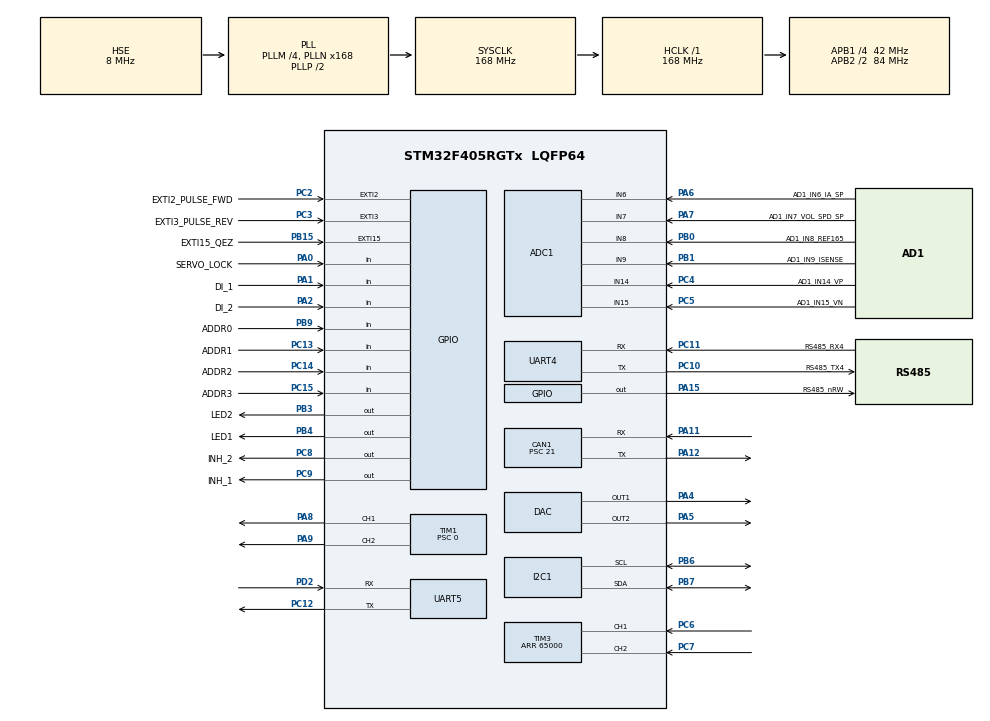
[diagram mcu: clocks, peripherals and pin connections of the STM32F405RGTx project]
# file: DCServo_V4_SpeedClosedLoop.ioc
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ADC1.Channel-2\#ChannelRegularConversion=ADC_CHANNEL_6
ADC1.Channel-3\#ChannelRegularConversion=ADC_CHANNEL_7
ADC1.Channel-4\#ChannelRegularConversion=ADC_CHANNEL_8
ADC1.Channel-5\#ChannelRegularConversion=ADC_CHANNEL_9
ADC1.Channel-6\#ChannelRegularConversion=ADC_CHANNEL_14
ADC1.Channel-7\#ChannelRegularConversion=ADC_CHANNEL_15
ADC1.DMAContinuousRequests=DISABLE
ADC1.EOCSelection=ADC_EOC_SEQ_CONV
ADC1.NbrOfConversion=6
ADC1.NbrOfConversionFlag=1
ADC1.Rank-2\#ChannelRegularConversion=1
ADC1.Rank-3\#ChannelRegularConversion=2
ADC1.Rank-4\#ChannelRegularConversion=3
ADC1.Rank-5\#ChannelRegularConversion=4
ADC1.Rank-6\#ChannelRegularConversion=5
ADC1.Rank-7\#ChannelRegularConversion=6
ADC1.SamplingTime-2\#ChannelRegularConversion=ADC_SAMPLETIME_144CYCLES
ADC1.SamplingTime-3\#ChannelRegularConversion=ADC_SAMPLETIME_144CYCLES
ADC1.SamplingTime-4\#ChannelRegularConversion=ADC_SAMPLETIME_144CYCLES
ADC1.SamplingTime-5\#ChannelRegularConversion=ADC_SAMPLETIME_144CYCLES
ADC1.SamplingTime-6\#ChannelRegularConversion=ADC_SAMPLETIME_144CYCLES
ADC1.SamplingTime-7\#ChannelRegularConversion=ADC_SAMPLETIME_144CYCLES
ADC1.ScanConvMode=ENABLE
ADC1.master=1
CAN1.BS1=CAN_BS1_2TQ
CAN1.BS2=CAN_BS2_1TQ
CAN1.CalculateBaudRate=500000
CAN1.CalculateTimeBit=2000
CAN1.CalculateTimeQuantum=500.0
CAN1.Prescaler=21
CAN1.TXFP=DISABLE
DAC.DAC_Trigger=DAC_TRIGGER_SOFTWARE
DAC.DAC_Trigger2=DAC_TRIGGER_SOFTWARE
Dma.ADC1.0.Direction=DMA_PERIPH_TO_MEMORY
Dma.ADC1.0.FIFOMode=DMA_FIFOMODE_DISABLE
Dma.ADC1.0.Instance=DMA2_Stream0
Dma.ADC1.0.MemDataAlignment=DMA_MDATAALIGN_HALFWORD
Dma.ADC1.0.MemInc=DMA_MINC_ENABLE
Dma.ADC1.0.Mode=DMA_NORMAL
Dma.ADC1.0.PeriphDataAlignment=DMA_PDATAALIGN_HALFWORD
Dma.ADC1.0.PeriphInc=DMA_PINC_DISABLE
Dma.ADC1.0.Priority=DMA_PRIORITY_VERY_HIGH
Dma.Request0=ADC1
Dma.Request1=UART4_RX
Dma.UART4_RX.1.Direction=DMA_PERIPH_TO_MEMORY
Dma.UART4_RX.1.FIFOMode=DMA_FIFOMODE_DISABLE
Dma.UART4_RX.1.Instance=DMA1_Stream2
Dma.UART4_RX.1.MemDataAlignment=DMA_MDATAALIGN_BYTE
Dma.UART4_RX.1.MemInc=DMA_MINC_ENABLE
Dma.UART4_RX.1.Mode=DMA_NORMAL
Dma.UART4_RX.1.PeriphDataAlignment=DMA_PDATAALIGN_BYTE
Dma.UART4_RX.1.PeriphInc=DMA_PINC_DISABLE
Dma.UART4_RX.1.Priority=DMA_PRIORITY_LOW
I2C1.I2C_Mode=I2C_Standard
Mcu.Family=STM32F4
Mcu.Name=STM32F405RGTx
Mcu.Package=LQFP64
NVIC.ADC_IRQn=true\:0\:0\:false\:false\:true\:true\:true\:true
NVIC.CAN1_RX0_IRQn=true\:0\:0\:false\:false\:true\:true\:true\:true
NVIC.CAN1_SCE_IRQn=true\:0\:0\:false\:false\:true\:true\:true\:true
NVIC.CAN1_TX_IRQn=true\:0\:0\:false\:false\:true\:true\:true\:true
NVIC.DMA1_Stream2_IRQn=true\:0\:0\:true\:false\:true\:false\:true\:true
NVIC.DMA2_Stream0_IRQn=true\:0\:0\:true\:false\:true\:false\:true\:true
NVIC.EXTI15_10_IRQn=true\:0\:0\:false\:false\:true\:true\:true\:true
NVIC.EXTI2_IRQn=true\:0\:0\:false\:false\:true\:true\:true\:true
NVIC.EXTI3_IRQn=true\:0\:0\:false\:false\:true\:true\:true\:true
NVIC.FPU_IRQn=true\:0\:0\:false\:false\:true\:true\:false\:true
NVIC.PriorityGroup=NVIC_PRIORITYGROUP_4
NVIC.TIM1_UP_TIM10_IRQn=true\:0\:0\:true\:false\:true\:true\:true\:true
NVIC.TIM2_IRQn=true\:0\:0\:true\:false\:true\:true\:true\:true
NVIC.TIM3_IRQn=true\:0\:0\:false\:false\:true\:true\:true\:true
NVIC.UART4_IRQn=true\:0\:0\:true\:false\:true\:true\:true\:true
PA0-WKUP.GPIO_Label=SERVO_LOCK
PA0-WKUP.GPIO_PuPd=GPIO_PULLUP
PA0-WKUP.Signal=GPIO_Input
PA1.GPIO_Label=DI_1
PA1.GPIO_PuPd=GPIO_PULLUP
PA1.Signal=GPIO_Input
PA11.Mode=CAN_Activate
PA11.Signal=CAN1_RX
PA12.Mode=CAN_Activate
PA12.Signal=CAN1_TX
PA13.Mode=Serial_Wire
PA13.Signal=SYS_JTMS-SWDIO
PA14.Mode=Serial_Wire
PA14.Signal=SYS_JTCK-SWCLK
PA15.GPIO_Label=RS485_nRW
PA15.Signal=GPIO_Output
PA2.GPIO_Label=DI_2
PA2.GPIO_PuPd=GPIO_PULLUP
PA2.Signal=GPIO_Input
PA4.Signal=COMP_DAC1_group
PA5.Signal=COMP_DAC2_group
PA6.GPIO_Label=AD1_IN6_IA_SP
PA6.Signal=ADCx_IN6
PA7.GPIO_Label=AD1_IN7_VOL_SPD_SP
PA7.Signal=ADCx_IN7
PA8.Signal=S_TIM1_CH1
PA9.Signal=S_TIM1_CH2
PB0.GPIO_Label=AD1_IN8_REF165
PB0.Signal=ADCx_IN8
PB1.GPIO_Label=AD1_IN9_ISENSE
PB1.Signal=ADCx_IN9
PB15.GPIO_Label=EXTI15_QEZ
PB15.GPIO_PuPd=GPIO_PULLUP
PB15.Signal=GPXTI15
PB3.GPIO_Label=LED2
PB3.Signal=GPIO_Output
PB4.GPIO_Label=LED1
PB4.Signal=GPIO_Output
PB6.GPIO_Pu=GPIO_PULLUP
PB6.Mode=I2C
PB6.Signal=I2C1_SCL
PB7.GPIO_Pu=GPIO_PULLUP
PB7.Mode=I2C
PB7.Signal=I2C1_SDA
PB9.GPIO_Label=ADDR0
PB9.GPIO_PuPd=GPIO_PULLUP
PB9.Signal=GPIO_Input
PC10.GPIO_Label=RS485_TX4
PC10.Mode=Asynchronous
PC10.Signal=UART4_TX
PC11.GPIO_Label=RS485_RX4
PC11.Mode=Asynchronous
PC11.Signal=UART4_RX
PC12.Mode=Multiprocessor_communication
PC12.Signal=UART5_TX
PC13-ANTI_TAMP.GPIO_Label=ADDR1
PC13-ANTI_TAMP.GPIO_PuPd=GPIO_PULLUP
PC13-ANTI_TAMP.Signal=GPIO_Input
PC14-OSC32_IN.GPIO_Label=ADDR2
PC14-OSC32_IN.GPIO_PuPd=GPIO_PULLUP
PC14-OSC32_IN.Signal=GPIO_Input
PC15-OSC32_OUT.GPIO_Label=ADDR3
PC15-OSC32_OUT.Signal=GPIO_Input
PC2.GPIO_Label=EXTI2_PULSE_FWD
PC2.GPIO_PuPd=GPIO_PULLUP
PC2.Signal=GPXTI2
PC3.GPIO_Label=EXTI3_PULSE_REV
PC3.GPIO_PuPd=GPIO_PULLUP
PC3.Signal=GPXTI3
PC4.GPIO_Label=AD1_IN14_VP
PC4.Signal=ADCx_IN14
PC5.GPIO_Label=AD1_IN15_VN
PC5.Signal=ADCx_IN15
PC6.GPIO_PuPd=GPIO_PULLUP
PC6.Signal=S_TIM3_CH1
PC7.GPIO_PuPd=GPIO_PULLUP
PC7.Signal=S_TIM3_CH2
PC8.GPIO_Label=INH_2
PC8.Signal=GPIO_Output
PC9.GPIO_Label=INH_1
PC9.Signal=GPIO_Output
PD2.Mode=Multiprocessor_communication
PD2.Signal=UART5_RX
PH0-OSC_IN.Mode=HSE-External-Oscillator
PH0-OSC_IN.Signal=RCC_OSC_IN
PH1-OSC_OUT.Mode=HSE-External-Oscillator
PH1-OSC_OUT.Signal=RCC_OSC_OUT
ProjectManager.HeapSize=0x200
ProjectManager.StackSize=0x400
ProjectManager.TargetToolchain=MDK-ARM V5.32
RCC.48MHZClocksFreq_Value=84000000
RCC.AHBFreq_Value=168000000
RCC.APB1CLKDivider=RCC_HCLK_DIV4
RCC.APB1Freq_Value=42000000
RCC.APB1TimFreq_Value=84000000
RCC.APB2CLKDivider=RCC_HCLK_DIV2
RCC.APB2Freq_Value=84000000
RCC.APB2TimFreq_Value=168000000
RCC.CortexFreq_Value=168000000
RCC.HCLKFreq_Value=168000000
RCC.HSE_VALUE=8000000
RCC.HSI_VALUE=16000000
RCC.LSE_VALUE=32768
RCC.PLLM=4
RCC.PLLN=168
RCC.PLLSourceVirtual=RCC_PLLSOURCE_HSE
RCC.SYSCLKFreq_VALUE=168000000
RCC.SYSCLKSource=RCC_SYSCLKSOURCE_PLLCLK
RCC.VCOOutputFreq_Value=336000000
SH.ADCx_IN14.0=ADC1_IN14,IN14
SH.ADCx_IN15.0=ADC1_IN15,IN15
SH.ADCx_IN6.0=ADC1_IN6,IN6
SH.ADCx_IN7.0=ADC1_IN7,IN7
SH.ADCx_IN8.0=ADC1_IN8,IN8
SH.ADCx_IN9.0=ADC1_IN9,IN9
SH.COMP_DAC1_group.0=DAC_OUT1,DAC_OUT1
SH.COMP_DAC2_group.0=DAC_OUT2,DAC_OUT2
SH.S_TIM1_CH1.0=TIM1_CH1,PWM Generation1 CH1
SH.S_TIM1_CH2.0=TIM1_CH2,PWM Generation2 CH2
SH.S_TIM3_CH1.0=TIM3_CH1,Encoder_Interface
SH.S_TIM3_CH2.0=TIM3_CH2,Encoder_Interface
TIM1.AutoReloadPreload=TIM_AUTORELOAD_PRELOAD_ENABLE
TIM1.Channel-PWM\ Generation1\ CH1=TIM_CHANNEL_1
TIM1.Channel-PWM\ Generation2\ CH2=TIM_CHANNEL_2
TIM1.CounterMode=TIM_COUNTERMODE_CENTERALIGNED1
TIM1.Period=8399
TIM1.Prescaler=0
TIM2.Period=335999
TIM3.AutoReloadPreload=TIM_AUTORELOAD_PRELOAD_ENABLE
TIM3.CounterMode=TIM_COUNTERMODE_UP
TIM3.EncoderMode=TIM_ENCODERMODE_TI12
TIM3.Period=65000
UART4.VirtualMode=Asynchronous
UART5.VirtualMode=Asynchronous
VP_TIM1_VS_ClockSourceINT.Mode=Internal
VP_TIM2_VS_ClockSourceINT.Mode=Internal
board=custom

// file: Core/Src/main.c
/* USER CODE BEGIN Header */
/**
  ******************************************************************************
  * @file           : main.c
  * @brief          : Main program body
  ******************************************************************************
  * @attention
  *
  * Copyright (c) 2024 STMicroelectronics.
  * All rights reserved.
  *
  * This software is licensed under terms that can be found in the LICENSE file
  * in the root directory of this software component.
  * If no LICENSE file comes with this software, it is provided AS-IS.
  *
  ******************************************************************************
  */
/* USER CODE END Header */
#include "main.h"

/* USER CODE BEGIN Includes */
#include "stdlib.h"
#include "stdio.h"
#include <string.h>
/* USER CODE END Includes */

/* USER CODE BEGIN PM */
CAN_RxHeaderTypeDef RxHeader;
CAN_TxHeaderTypeDef TxHeader;
/* USER CODE END PM */

ADC_HandleTypeDef hadc1;
DMA_HandleTypeDef hdma_adc1;

CAN_HandleTypeDef hcan1;

DAC_HandleTypeDef hdac;

I2C_HandleTypeDef hi2c1;

TIM_HandleTypeDef htim1;
TIM_HandleTypeDef htim2;
TIM_HandleTypeDef htim3;

UART_HandleTypeDef huart4;
UART_HandleTypeDef huart5;
DMA_HandleTypeDef hdma_uart4_rx;

/* USER CODE BEGIN PV */
const float f_base_Ts = 0.00005f;	//PWM isr frequency - 20kHz
const float f_Ia_Ts = 0.0001f;		//Sampling frequency of the current control loop - 10kHz
const float f_Spd_Ts = 0.05f;			//Sampling frequency of the "gear shaft speed" control loop - 20Hz
const float f_Gear_Ratio = 19.2; //19.2f;	//Gear box reduced speed ratio of motor
const float f_Vbus_Nom = 24.0f;		//Norminal dc bus voltage - V
float f_Ti_Spd = 0.2;//0.2 						//second
float f_Ti_Ia = 0.08;//0.01							//second
//const uint8_t ui8_Converter_Type = MOTOR; //Firmware for Motor side - Open loop voltage control
const uint8_t ui8_Converter_Type = LOAD;//Firmware for Load side - Closed loop current control
//const uint8_t ui8_FirmwareLevel = TEST_MODE;
const uint8_t ui8_FirmwareLevel = RUN_MODE;
/*uart data*/
usartData usart4_Tx, usart4_Rx; 		//RS485
usartData usart5_Tx, usart5_Rx; 		//NEXTION
/*Timer variable*/
timer_Objt Tim_10ms[MaxTIMER];			//10ms software timer
uint16_t tim10msTick;
/*PWM variable*/
PWM PWM_Var;
/*GPIO Variable*/
gpio_Objt DI_Objt[NumOfDI];
/*ADC data*/
adc_Objt adc_Objt_var;
volatile uint16_t ADC_CH1[NumOfADC_Channel];
/*DAC data*/
DAC_OUT stDAC_Var;
/*2nd Order Unity-Gain LPF*/
LPF st_LPF_dotIa;
LPF st_LPF_EsSpd;
LPF st_LPF_IaSP;
LPF st_LPF_SpdSP;
LPF st_LPF_Ia;
LPF st_LPF_dotIa;
LPF st_LPF_Vbus;
LPF st_LPF_Vref_165;
LPF st_LPF_AD_Ia_Offset;
/*PI controller*/
cPI stPI_Speed, stPI_Ia;
//State machine
machine_Control stMControl_Var;
machine_Parameter stMachine_Var;
/*Setpoint variable*/
setpoint SP_Var;
//RAMP Generator (Ampere with Ia, and rpm with Speed)
RAMP stRamp_IaSP, stRamp_SpdSP, stRamp_VaSP;
//Quadrature Encoder
QEI stQEI_Var;
uint8_t First_Cycle_Flag = 0;
//NEXTION HMI
NEXTION NEXVar;
// CAN
uint8_t ID_CAN= 0x11; // 0x12||0x11
uint32_t TxMailbox;
double N_Round=0.000f;
// system
mode CONTROL;
/* USER CODE END PV */

void SystemClock_Config(void);
static void MX_GPIO_Init(void);
static void MX_DMA_Init(void);
static void MX_ADC1_Init(void);
static void MX_CAN1_Init(void);
static void MX_I2C1_Init(void);
static void MX_TIM1_Init(void);
static void MX_DAC_Init(void);
static void MX_TIM3_Init(void);
static void MX_UART4_Init(void);
static void MX_UART5_Init(void);
static void MX_TIM2_Init(void);

/* USER CODE BEGIN 0 */
extern void Transmit_RS485();
// GET data CAN bus

/* USER CODE END 0 */

int main(void)
{

  /* MCU Configuration--------------------------------------------------------*/

  /* Reset of all peripherals, Initializes the Flash interface and the Systick. */
  HAL_Init();

  /* Configure the system clock */
  SystemClock_Config();

  /* Initialize all configured peripherals */
  MX_GPIO_Init();
  MX_DMA_Init();
  MX_ADC1_Init();
  MX_CAN1_Init();
  MX_I2C1_Init();
  MX_TIM1_Init();
  MX_DAC_Init();
  MX_TIM3_Init();
  MX_UART4_Init();
  MX_UART5_Init();
  MX_TIM2_Init();
  /* USER CODE BEGIN 2 */
	HAL_Delay(1000);					//ATTENTION: Do Not Delete This Command - High Risk of Malt Function
	//Watchdog
	//IWDG1->KR = 0xAAAA; // Writing 0xAAAA in the Key register prevents watchdog reset
	//IWDG1->KR = 0xCCCC; // Start the independent watchdog timer

	//Initialize DC motor parameters
	vMachineParameterConfig(&stMachine_Var);
	//State machine Initialize
	vStateMachineConfig(&stMControl_Var, &stMachine_Var);
	//Initialize adc data
	vAdc_DataInit(&adc_Objt_var, &stMachine_Var);
	//Initialize DAC data
	vDAC_Init(&stDAC_Var);
	//Start DAC
	HAL_DAC_Start(&hdac, DAC_CHANNEL_1);
	HAL_DAC_Start(&hdac, DAC_CHANNEL_2);
	//DAC TEST
	vDAC_CH1_IaWrite(&stDAC_Var, 1, 0.0f);
	vDAC_CH1_IaWrite(&stDAC_Var, 2, 0.0f);
	//Timers initialize
	vTim_Start(&Tim_10ms[0],25);									//Create 0.25s event
	tim10msTick = 0;
	/*Low pass filter initialize*/
	//50ms group
	vLPF_Init(&st_LPF_EsSpd, 20, f_Spd_Ts);							//For EsSpeed filter
	//0.05ms group
	vLPF_Init(&st_LPF_Vbus, 20, f_base_Ts);							//For Vbus filter
	vLPF_Init(&st_LPF_SpdSP, 20, f_base_Ts);						//For SpeedSP filter
	vLPF_Init(&st_LPF_dotIa, 100, f_base_Ts);						//For dia/dt filter
	vLPF_Init(&st_LPF_IaSP, 50, f_base_Ts);							//For Analog IaSP filter
	vLPF_Init(&st_LPF_Ia, 100, f_base_Ts);							//For Ia filter
	vLPF_Init(&st_LPF_AD_Ia_Offset, 30, f_base_Ts);			//For Hall current sensor Offset filter
	//GPIO Initialize
	vDIO_Init();
	vDI_Scan();
//	HAL_GPIO_WritePin(LED2_GPIO_Port, LED2_Pin, GPIO_PIN_SET);		//Turn Off Led 2
	HAL_GPIO_WritePin(RS485_nRW_GPIO_Port, RS485_nRW_Pin, GPIO_PIN_RESET);//RS485 In Receive mode
	HAL_UART_Receive_IT(&huart4, &usart4_Rx.rxByte,1);										//Init usart4 interrupt
	HAL_UART_Receive_IT(&huart5, &usart5_Rx.rxByte,1);										//Init usart5 interrupt
	//Serial ports initialize
	vUsart_DataInit(&usart4_Rx);
	vUsart_DataInit(&usart5_Rx);
	//Config PI Speed Controller 20ms sampling time (50Hz)
	vPI_Init(&stPI_Speed, f_Ti_Spd, 0.3f, f_Spd_Ts, stMachine_Var.f_GearShaft_Spd_rated, stMachine_Var.f_Ia_max);
	//Config PI amature current controller with 0.5ms sampling time (2kHz)
	vPI_Init(&stPI_Ia, f_Ti_Ia, 0.6f, f_Ia_Ts, stMachine_Var.f_Ia_max, stMachine_Var.f_Va_rated);
	//Config Quadrature Encoder
	vQEI_Config(&stQEI_Var,500, 4, f_Gear_Ratio, f_Spd_Ts);
	//Config Ramp function generator
	vRamp_Config(&stRamp_SpdSP, 1, 1, 0, stMachine_Var.f_GearShaft_Spd_rated, f_Spd_Ts);
	vRamp_Config(&stRamp_VaSP, 5, 5, 0, stMachine_Var.f_Va_rated, f_Spd_Ts);
	vRamp_Config(&stRamp_IaSP, 1, 1, 0, stMachine_Var.f_Ia_rated, f_Ia_Ts);
	//Config Nextion HMI
	vNEXTION_Init(&NEXVar);
	//Enable Timer 3 interrupts - Incremental Encoder Overflow
	HAL_TIM_Base_Start_IT(&htim3);
	//Enable Timer 1 interrupts - TIM1 Update Interrupt
	HAL_TIM_Base_Start_IT(&htim1);
	//Start PWM
	HAL_TIM_PWM_Start(&htim1, TIM_CHANNEL_1);
	HAL_TIM_PWM_Start(&htim1, TIM_CHANNEL_2);
	//PWM initialize
	user_pwm_init(&PWM_Var, htim1.Init.Period);
	//Enable the PWM module
	user_pwm_Enable(&PWM_Var);
	user_pwm_setvalue(&PWM_Var, 0.0f,f_Vbus_Nom, Unipolar);
	// CAN setup
	HAL_CAN_Start(&hcan1);
	HAL_CAN_GetError(&hcan1);
	HAL_CAN_ActivateNotification(&hcan1, CAN_IT_RX_FIFO0_MSG_PENDING);
  // RS485
	RS485_Init();
  /* USER CODE END 2 */

  /* Infinite loop */
  /* USER CODE BEGIN WHILE */
  while (1)
  {

		HAL_UARTEx_ReceiveToIdle_DMA(&huart4,usart4_Rx.rxBuff, 100);
//		HAL_GPIO_TogglePin(LED1_GPIO_Port, LED1_Pin);
//    Transmit_RS485();
//		send_data_can(2,0x13);
//		HAL_GPIO_TogglePin(LED2_GPIO_Port, LED2_Pin);
//		HAL_Delay(10);
		//10ms event
//		user_pwm_setvalue(&PWM_Var, 6.0f,f_Vbus_Nom, Unipolar);
		if(tim10msTick == 1)
		{
			//Reset 10ms event flag
			tim10msTick = 0;
			vTim_Scan(Tim_10ms);
			//10ms task 1
			vDI_Scan();
			if(stMControl_Var.enum_mState != mSENSOR_CALIB)
			{
				vDIO_Task_Handle(&stMControl_Var);
			}
			//10ms task 2
//			N_Round=N_Round+(float)(stQEI_Var.f_Cnt_CAN/(52.0f*f_Gear_Ratio));
//		  send_data_can(N_Round,ID_CAN);
//			stQEI_Var.f_Cnt_CAN=0;
//			HAL_GPIO_TogglePin(LED1_GPIO_Port, LED1_Pin);
			//10ms task 3
			//-----------
			//10ms task n

		}
		//250ms task - Led flashing to show normal operation of the MCU
//		if(Tim_10ms[0].En==1 && Tim_10ms[0].Output==1)
//		{
//			HAL_GPIO_TogglePin(LED1_GPIO_Port, LED2_Pin);
//			vNEXTION_DisplayHandle(&adc_Objt_var, &stMControl_Var, &stRamp_IaSP, &stRamp_SpdSP, &stQEI_Var, &stMachine_Var, &NEXVar);
//			//Reset timer
//			Tim_10ms[0].Output = 0;
//		}
    /* USER CODE END WHILE */

  }
}

void SystemClock_Config(void)
{
  RCC_OscInitTypeDef RCC_OscInitStruct = {0};
  RCC_ClkInitTypeDef RCC_ClkInitStruct = {0};

  /** Configure the main internal regulator output voltage
  */
  __HAL_RCC_PWR_CLK_ENABLE();
  __HAL_PWR_VOLTAGESCALING_CONFIG(PWR_REGULATOR_VOLTAGE_SCALE1);

  /** Initializes the RCC Oscillators according to the specified parameters
  * in the RCC_OscInitTypeDef structure.
  */
  RCC_OscInitStruct.OscillatorType = RCC_OSCILLATORTYPE_HSE;
  RCC_OscInitStruct.HSEState = RCC_HSE_ON;
  RCC_OscInitStruct.PLL.PLLState = RCC_PLL_ON;
  RCC_OscInitStruct.PLL.PLLSource = RCC_PLLSOURCE_HSE;
  RCC_OscInitStruct.PLL.PLLM = 4;
  RCC_OscInitStruct.PLL.PLLN = 168;
  RCC_OscInitStruct.PLL.PLLP = RCC_PLLP_DIV2;
  RCC_OscInitStruct.PLL.PLLQ = 4;
  if (HAL_RCC_OscConfig(&RCC_OscInitStruct) != HAL_OK)
  {
    Error_Handler();
  }

  /** Initializes the CPU, AHB and APB buses clocks
  */
  RCC_ClkInitStruct.ClockType = RCC_CLOCKTYPE_HCLK|RCC_CLOCKTYPE_SYSCLK
                              |RCC_CLOCKTYPE_PCLK1|RCC_CLOCKTYPE_PCLK2;
  RCC_ClkInitStruct.SYSCLKSource = RCC_SYSCLKSOURCE_PLLCLK;
  RCC_ClkInitStruct.AHBCLKDivider = RCC_SYSCLK_DIV1;
  RCC_ClkInitStruct.APB1CLKDivider = RCC_HCLK_DIV4;
  RCC_ClkInitStruct.APB2CLKDivider = RCC_HCLK_DIV2;

  if (HAL_RCC_ClockConfig(&RCC_ClkInitStruct, FLASH_LATENCY_5) != HAL_OK)
  {
    Error_Handler();
  }
}

static void MX_ADC1_Init(void)
{

  ADC_ChannelConfTypeDef sConfig = {0};

  /** Configure the global features of the ADC (Clock, Resolution, Data Alignment and number of conversion)
  */
  hadc1.Instance = ADC1;
  hadc1.Init.ClockPrescaler = ADC_CLOCK_SYNC_PCLK_DIV4;
  hadc1.Init.Resolution = ADC_RESOLUTION_12B;
  hadc1.Init.ScanConvMode = ENABLE;
  hadc1.Init.ContinuousConvMode = DISABLE;
  hadc1.Init.DiscontinuousConvMode = DISABLE;
  hadc1.Init.ExternalTrigConvEdge = ADC_EXTERNALTRIGCONVEDGE_NONE;
  hadc1.Init.ExternalTrigConv = ADC_SOFTWARE_START;
  hadc1.Init.DataAlign = ADC_DATAALIGN_RIGHT;
  hadc1.Init.NbrOfConversion = 6;
  hadc1.Init.DMAContinuousRequests = DISABLE;
  hadc1.Init.EOCSelection = ADC_EOC_SEQ_CONV;
  if (HAL_ADC_Init(&hadc1) != HAL_OK)
  {
    Error_Handler();
  }

  /** Configure for the selected ADC regular channel its corresponding rank in the sequencer and its sample time.
  */
  sConfig.Channel = ADC_CHANNEL_6;
  sConfig.Rank = 1;
  sConfig.SamplingTime = ADC_SAMPLETIME_144CYCLES;
  if (HAL_ADC_ConfigChannel(&hadc1, &sConfig) != HAL_OK)
  {
    Error_Handler();
  }

  /** Configure for the selected ADC regular channel its corresponding rank in the sequencer and its sample time.
  */
  sConfig.Channel = ADC_CHANNEL_7;
  sConfig.Rank = 2;
  if (HAL_ADC_ConfigChannel(&hadc1, &sConfig) != HAL_OK)
  {
    Error_Handler();
  }

  /** Configure for the selected ADC regular channel its corresponding rank in the sequencer and its sample time.
  */
  sConfig.Channel = ADC_CHANNEL_8;
  sConfig.Rank = 3;
  if (HAL_ADC_ConfigChannel(&hadc1, &sConfig) != HAL_OK)
  {
    Error_Handler();
  }

  /** Configure for the selected ADC regular channel its corresponding rank in the sequencer and its sample time.
  */
  sConfig.Channel = ADC_CHANNEL_9;
  sConfig.Rank = 4;
  if (HAL_ADC_ConfigChannel(&hadc1, &sConfig) != HAL_OK)
  {
    Error_Handler();
  }

  /** Configure for the selected ADC regular channel its corresponding rank in the sequencer and its sample time.
  */
  sConfig.Channel = ADC_CHANNEL_14;
  sConfig.Rank = 5;
  if (HAL_ADC_ConfigChannel(&hadc1, &sConfig) != HAL_OK)
  {
    Error_Handler();
  }

  /** Configure for the selected ADC regular channel its corresponding rank in the sequencer and its sample time.
  */
  sConfig.Channel = ADC_CHANNEL_15;
  sConfig.Rank = 6;
  if (HAL_ADC_ConfigChannel(&hadc1, &sConfig) != HAL_OK)
  {
    Error_Handler();
  }

}

static void MX_CAN1_Init(void)
{

  hcan1.Instance = CAN1;
  hcan1.Init.Prescaler = 21;
  hcan1.Init.Mode = CAN_MODE_NORMAL;
  hcan1.Init.SyncJumpWidth = CAN_SJW_1TQ;
  hcan1.Init.TimeSeg1 = CAN_BS1_2TQ;
  hcan1.Init.TimeSeg2 = CAN_BS2_1TQ;
  hcan1.Init.TimeTriggeredMode = DISABLE;
  hcan1.Init.AutoBusOff = DISABLE;
  hcan1.Init.AutoWakeUp = DISABLE;
  hcan1.Init.AutoRetransmission = DISABLE;
  hcan1.Init.ReceiveFifoLocked = DISABLE;
  hcan1.Init.TransmitFifoPriority = DISABLE;
  if (HAL_CAN_Init(&hcan1) != HAL_OK)
  {
    Error_Handler();
  }
  /* USER CODE BEGIN CAN1_Init 2 */
// Function to configure CAN1 filter

  CAN_FilterTypeDef canFilterConfig;

    // Configure the filter to receive messages with specific identifiers (0x11, 0x12, 0x13, 0x14)
    canFilterConfig.FilterBank = 1;
    canFilterConfig.FilterMode = CAN_FILTERMODE_IDMASK;
    canFilterConfig.FilterScale = CAN_FILTERSCALE_32BIT;
    canFilterConfig.FilterIdHigh = ID_CAN << 5;  // Identifier 0x11
    canFilterConfig.FilterIdLow = 0x0000 ;  //  Mask for lower 16 bits of the ID
    canFilterConfig.FilterMaskIdHigh = ID_CAN << 5;
    canFilterConfig.FilterMaskIdLow = 0x0000;
    canFilterConfig.FilterFIFOAssignment = CAN_RX_FIFO0;
    canFilterConfig.FilterActivation = ENABLE;

    HAL_CAN_ConfigFilter(&hcan1, &canFilterConfig);
	// config TXHeader
	TxHeader.IDE = CAN_ID_STD;
	TxHeader.RTR = CAN_RTR_DATA;
	TxHeader.DLC = 8;
  /* USER CODE END CAN1_Init 2 */

}

static void MX_DAC_Init(void)
{

  DAC_ChannelConfTypeDef sConfig = {0};

  /** DAC Initialization
  */
  hdac.Instance = DAC;
  if (HAL_DAC_Init(&hdac) != HAL_OK)
  {
    Error_Handler();
  }

  /** DAC channel OUT1 config
  */
  sConfig.DAC_Trigger = DAC_TRIGGER_SOFTWARE;
  sConfig.DAC_OutputBuffer = DAC_OUTPUTBUFFER_ENABLE;
  if (HAL_DAC_ConfigChannel(&hdac, &sConfig, DAC_CHANNEL_1) != HAL_OK)
  {
    Error_Handler();
  }

  /** DAC channel OUT2 config
  */
  if (HAL_DAC_ConfigChannel(&hdac, &sConfig, DAC_CHANNEL_2) != HAL_OK)
  {
    Error_Handler();
  }

}

static void MX_I2C1_Init(void)
{

  hi2c1.Instance = I2C1;
  hi2c1.Init.ClockSpeed = 100000;
  hi2c1.Init.DutyCycle = I2C_DUTYCYCLE_2;
  hi2c1.Init.OwnAddress1 = 0;
  hi2c1.Init.AddressingMode = I2C_ADDRESSINGMODE_7BIT;
  hi2c1.Init.DualAddressMode = I2C_DUALADDRESS_DISABLE;
  hi2c1.Init.OwnAddress2 = 0;
  hi2c1.Init.GeneralCallMode = I2C_GENERALCALL_DISABLE;
  hi2c1.Init.NoStretchMode = I2C_NOSTRETCH_DISABLE;
  if (HAL_I2C_Init(&hi2c1) != HAL_OK)
  {
    Error_Handler();
  }

}

static void MX_TIM1_Init(void)
{

  TIM_ClockConfigTypeDef sClockSourceConfig = {0};
  TIM_MasterConfigTypeDef sMasterConfig = {0};
  TIM_OC_InitTypeDef sConfigOC = {0};
  TIM_BreakDeadTimeConfigTypeDef sBreakDeadTimeConfig = {0};

  htim1.Instance = TIM1;
  htim1.Init.Prescaler = 0;
  htim1.Init.CounterMode = TIM_COUNTERMODE_CENTERALIGNED1;
  htim1.Init.Period = 8399;
  htim1.Init.ClockDivision = TIM_CLOCKDIVISION_DIV1;
  htim1.Init.RepetitionCounter = 0;
  htim1.Init.AutoReloadPreload = TIM_AUTORELOAD_PRELOAD_ENABLE;
  if (HAL_TIM_Base_Init(&htim1) != HAL_OK)
  {
    Error_Handler();
  }
  sClockSourceConfig.ClockSource = TIM_CLOCKSOURCE_INTERNAL;
  if (HAL_TIM_ConfigClockSource(&htim1, &sClockSourceConfig) != HAL_OK)
  {
    Error_Handler();
  }
  if (HAL_TIM_PWM_Init(&htim1) != HAL_OK)
  {
    Error_Handler();
  }
  sMasterConfig.MasterOutputTrigger = TIM_TRGO_RESET;
  sMasterConfig.MasterSlaveMode = TIM_MASTERSLAVEMODE_DISABLE;
  if (HAL_TIMEx_MasterConfigSynchronization(&htim1, &sMasterConfig) != HAL_OK)
  {
    Error_Handler();
  }
  sConfigOC.OCMode = TIM_OCMODE_PWM1;
  sConfigOC.Pulse = 0;
  sConfigOC.OCPolarity = TIM_OCPOLARITY_HIGH;
  sConfigOC.OCNPolarity = TIM_OCNPOLARITY_HIGH;
  sConfigOC.OCFastMode = TIM_OCFAST_DISABLE;
  sConfigOC.OCIdleState = TIM_OCIDLESTATE_RESET;
  sConfigOC.OCNIdleState = TIM_OCNIDLESTATE_RESET;
  if (HAL_TIM_PWM_ConfigChannel(&htim1, &sConfigOC, TIM_CHANNEL_1) != HAL_OK)
  {
    Error_Handler();
  }
  if (HAL_TIM_PWM_ConfigChannel(&htim1, &sConfigOC, TIM_CHANNEL_2) != HAL_OK)
  {
    Error_Handler();
  }
  sBreakDeadTimeConfig.OffStateRunMode = TIM_OSSR_DISABLE;
  sBreakDeadTimeConfig.OffStateIDLEMode = TIM_OSSI_DISABLE;
  sBreakDeadTimeConfig.LockLevel = TIM_LOCKLEVEL_OFF;
  sBreakDeadTimeConfig.DeadTime = 0;
  sBreakDeadTimeConfig.BreakState = TIM_BREAK_DISABLE;
  sBreakDeadTimeConfig.BreakPolarity = TIM_BREAKPOLARITY_HIGH;
  sBreakDeadTimeConfig.AutomaticOutput = TIM_AUTOMATICOUTPUT_DISABLE;
  if (HAL_TIMEx_ConfigBreakDeadTime(&htim1, &sBreakDeadTimeConfig) != HAL_OK)
  {
    Error_Handler();
  }
  HAL_TIM_MspPostInit(&htim1);

}

static void MX_TIM2_Init(void)
{

  TIM_ClockConfigTypeDef sClockSourceConfig = {0};
  TIM_MasterConfigTypeDef sMasterConfig = {0};

  htim2.Instance = TIM2;
  htim2.Init.Prescaler = 0;
  htim2.Init.CounterMode = TIM_COUNTERMODE_UP;
  htim2.Init.Period = 335999;
  htim2.Init.ClockDivision = TIM_CLOCKDIVISION_DIV1;
  htim2.Init.AutoReloadPreload = TIM_AUTORELOAD_PRELOAD_DISABLE;
  if (HAL_TIM_Base_Init(&htim2) != HAL_OK)
  {
    Error_Handler();
  }
  sClockSourceConfig.ClockSource = TIM_CLOCKSOURCE_INTERNAL;
  if (HAL_TIM_ConfigClockSource(&htim2, &sClockSourceConfig) != HAL_OK)
  {
    Error_Handler();
  }
  sMasterConfig.MasterOutputTrigger = TIM_TRGO_RESET;
  sMasterConfig.MasterSlaveMode = TIM_MASTERSLAVEMODE_DISABLE;
  if (HAL_TIMEx_MasterConfigSynchronization(&htim2, &sMasterConfig) != HAL_OK)
  {
    Error_Handler();
  }

}

static void MX_TIM3_Init(void)
{

  TIM_Encoder_InitTypeDef sConfig = {0};
  TIM_MasterConfigTypeDef sMasterConfig = {0};

  htim3.Instance = TIM3;
  htim3.Init.Prescaler = 0;
  htim3.Init.CounterMode = TIM_COUNTERMODE_UP;
  htim3.Init.Period = 65000;
  htim3.Init.ClockDivision = TIM_CLOCKDIVISION_DIV1;
  htim3.Init.AutoReloadPreload = TIM_AUTORELOAD_PRELOAD_ENABLE;
  sConfig.EncoderMode = TIM_ENCODERMODE_TI12;
  sConfig.IC1Polarity = TIM_ICPOLARITY_RISING;
  sConfig.IC1Selection = TIM_ICSELECTION_DIRECTTI;
  sConfig.IC1Prescaler = TIM_ICPSC_DIV1;
  sConfig.IC1Filter = 0;
  sConfig.IC2Polarity = TIM_ICPOLARITY_RISING;
  sConfig.IC2Selection = TIM_ICSELECTION_DIRECTTI;
  sConfig.IC2Prescaler = TIM_ICPSC_DIV1;
  sConfig.IC2Filter = 0;
  if (HAL_TIM_Encoder_Init(&htim3, &sConfig) != HAL_OK)
  {
    Error_Handler();
  }
  sMasterConfig.MasterOutputTrigger = TIM_TRGO_RESET;
  sMasterConfig.MasterSlaveMode = TIM_MASTERSLAVEMODE_DISABLE;
  if (HAL_TIMEx_MasterConfigSynchronization(&htim3, &sMasterConfig) != HAL_OK)
  {
    Error_Handler();
  }

}

static void MX_UART4_Init(void)
{

  huart4.Instance = UART4;
  huart4.Init.BaudRate = 115200;
  huart4.Init.WordLength = UART_WORDLENGTH_8B;
  huart4.Init.StopBits = UART_STOPBITS_1;
  huart4.Init.Parity = UART_PARITY_NONE;
  huart4.Init.Mode = UART_MODE_TX_RX;
  huart4.Init.HwFlowCtl = UART_HWCONTROL_NONE;
  huart4.Init.OverSampling = UART_OVERSAMPLING_16;
  if (HAL_UART_Init(&huart4) != HAL_OK)
  {
    Error_Handler();
  }

}

static void MX_UART5_Init(void)
{

  huart5.Instance = UART5;
  huart5.Init.BaudRate = 115200;
  huart5.Init.WordLength = UART_WORDLENGTH_8B;
  huart5.Init.StopBits = UART_STOPBITS_1;
  huart5.Init.Parity = UART_PARITY_NONE;
  huart5.Init.Mode = UART_MODE_TX_RX;
  huart5.Init.HwFlowCtl = UART_HWCONTROL_NONE;
  huart5.Init.OverSampling = UART_OVERSAMPLING_16;
  if (HAL_MultiProcessor_Init(&huart5, 0, UART_WAKEUPMETHOD_IDLELINE) != HAL_OK)
  {
    Error_Handler();
  }

}

static void MX_DMA_Init(void)
{

  /* DMA controller clock enable */
  __HAL_RCC_DMA2_CLK_ENABLE();
  __HAL_RCC_DMA1_CLK_ENABLE();

  /* DMA interrupt init */
  /* DMA1_Stream2_IRQn interrupt configuration */
  HAL_NVIC_SetPriority(DMA1_Stream2_IRQn, 0, 0);
  HAL_NVIC_EnableIRQ(DMA1_Stream2_IRQn);
  /* DMA2_Stream0_IRQn interrupt configuration */
  HAL_NVIC_SetPriority(DMA2_Stream0_IRQn, 0, 0);
  HAL_NVIC_EnableIRQ(DMA2_Stream0_IRQn);

}

static void MX_GPIO_Init(void)
{
  GPIO_InitTypeDef GPIO_InitStruct = {0};

  /* GPIO Ports Clock Enable */
  __HAL_RCC_GPIOC_CLK_ENABLE();
  __HAL_RCC_GPIOH_CLK_ENABLE();
  __HAL_RCC_GPIOA_CLK_ENABLE();
  __HAL_RCC_GPIOB_CLK_ENABLE();
  __HAL_RCC_GPIOD_CLK_ENABLE();

  /*Configure GPIO pin Output Level */
  HAL_GPIO_WritePin(GPIOC, INH_2_Pin|INH_1_Pin, GPIO_PIN_RESET);

  /*Configure GPIO pin Output Level */
  HAL_GPIO_WritePin(RS485_nRW_GPIO_Port, RS485_nRW_Pin, GPIO_PIN_RESET);

  /*Configure GPIO pin Output Level */
  HAL_GPIO_WritePin(GPIOB, LED2_Pin|LED1_Pin, GPIO_PIN_RESET);

  /*Configure GPIO pins : ADDR1_Pin ADDR2_Pin */
  GPIO_InitStruct.Pin = ADDR1_Pin|ADDR2_Pin;
  GPIO_InitStruct.Mode = GPIO_MODE_INPUT;
  GPIO_InitStruct.Pull = GPIO_PULLUP;
  HAL_GPIO_Init(GPIOC, &GPIO_InitStruct);

  /*Configure GPIO pin : ADDR3_Pin */
  GPIO_InitStruct.Pin = ADDR3_Pin;
  GPIO_InitStruct.Mode = GPIO_MODE_INPUT;
  GPIO_InitStruct.Pull = GPIO_NOPULL;
  HAL_GPIO_Init(ADDR3_GPIO_Port, &GPIO_InitStruct);

  /*Configure GPIO pins : PC0 PC1 */
  GPIO_InitStruct.Pin = GPIO_PIN_0|GPIO_PIN_1;
  GPIO_InitStruct.Mode = GPIO_MODE_ANALOG;
  GPIO_InitStruct.Pull = GPIO_NOPULL;
  HAL_GPIO_Init(GPIOC, &GPIO_InitStruct);

  /*Configure GPIO pins : EXTI2_PULSE_FWD_Pin EXTI3_PULSE_REV_Pin */
  GPIO_InitStruct.Pin = EXTI2_PULSE_FWD_Pin|EXTI3_PULSE_REV_Pin;
  GPIO_InitStruct.Mode = GPIO_MODE_IT_RISING;
  GPIO_InitStruct.Pull = GPIO_PULLUP;
  HAL_GPIO_Init(GPIOC, &GPIO_InitStruct);

  /*Configure GPIO pins : SERVO_LOCK_Pin DI_1_Pin DI_2_Pin */
  GPIO_InitStruct.Pin = SERVO_LOCK_Pin|DI_1_Pin|DI_2_Pin;
  GPIO_InitStruct.Mode = GPIO_MODE_INPUT;
  GPIO_InitStruct.Pull = GPIO_PULLUP;
  HAL_GPIO_Init(GPIOA, &GPIO_InitStruct);

  /*Configure GPIO pins : PA3 PA10 */
  GPIO_InitStruct.Pin = GPIO_PIN_3|GPIO_PIN_10;
  GPIO_InitStruct.Mode = GPIO_MODE_ANALOG;
  GPIO_InitStruct.Pull = GPIO_NOPULL;
  HAL_GPIO_Init(GPIOA, &GPIO_InitStruct);

  /*Configure GPIO pins : PB2 PB10 PB11 PB12
                           PB13 PB14 PB5 PB8 */
  GPIO_InitStruct.Pin = GPIO_PIN_2|GPIO_PIN_10|GPIO_PIN_11|GPIO_PIN_12
                          |GPIO_PIN_13|GPIO_PIN_14|GPIO_PIN_5|GPIO_PIN_8;
  GPIO_InitStruct.Mode = GPIO_MODE_ANALOG;
  GPIO_InitStruct.Pull = GPIO_NOPULL;
  HAL_GPIO_Init(GPIOB, &GPIO_InitStruct);

  /*Configure GPIO pin : EXTI15_QEZ_Pin */
  GPIO_InitStruct.Pin = EXTI15_QEZ_Pin;
  GPIO_InitStruct.Mode = GPIO_MODE_IT_RISING;
  GPIO_InitStruct.Pull = GPIO_PULLUP;
  HAL_GPIO_Init(EXTI15_QEZ_GPIO_Port, &GPIO_InitStruct);

  /*Configure GPIO pins : INH_2_Pin INH_1_Pin */
  GPIO_InitStruct.Pin = INH_2_Pin|INH_1_Pin;
  GPIO_InitStruct.Mode = GPIO_MODE_OUTPUT_PP;
  GPIO_InitStruct.Pull = GPIO_NOPULL;
  GPIO_InitStruct.Speed = GPIO_SPEED_FREQ_LOW;
  HAL_GPIO_Init(GPIOC, &GPIO_InitStruct);

  /*Configure GPIO pin : RS485_nRW_Pin */
  GPIO_InitStruct.Pin = RS485_nRW_Pin;
  GPIO_InitStruct.Mode = GPIO_MODE_OUTPUT_PP;
  GPIO_InitStruct.Pull = GPIO_NOPULL;
  GPIO_InitStruct.Speed = GPIO_SPEED_FREQ_LOW;
  HAL_GPIO_Init(RS485_nRW_GPIO_Port, &GPIO_InitStruct);

  /*Configure GPIO pins : LED2_Pin LED1_Pin */
  GPIO_InitStruct.Pin = LED2_Pin|LED1_Pin;
  GPIO_InitStruct.Mode = GPIO_MODE_OUTPUT_PP;
  GPIO_InitStruct.Pull = GPIO_NOPULL;
  GPIO_InitStruct.Speed = GPIO_SPEED_FREQ_LOW;
  HAL_GPIO_Init(GPIOB, &GPIO_InitStruct);

  /*Configure GPIO pin : ADDR0_Pin */
  GPIO_InitStruct.Pin = ADDR0_Pin;
  GPIO_InitStruct.Mode = GPIO_MODE_INPUT;
  GPIO_InitStruct.Pull = GPIO_PULLUP;
  HAL_GPIO_Init(ADDR0_GPIO_Port, &GPIO_InitStruct);

  /* EXTI interrupt init*/
  HAL_NVIC_SetPriority(EXTI2_IRQn, 0, 0);
  HAL_NVIC_EnableIRQ(EXTI2_IRQn);

  HAL_NVIC_SetPriority(EXTI3_IRQn, 0, 0);
  HAL_NVIC_EnableIRQ(EXTI3_IRQn);

  HAL_NVIC_SetPriority(EXTI15_10_IRQn, 0, 0);
  HAL_NVIC_EnableIRQ(EXTI15_10_IRQn);

}

void Error_Handler(void)
{
  __disable_irq();
  while (1)
  {
  }
}
